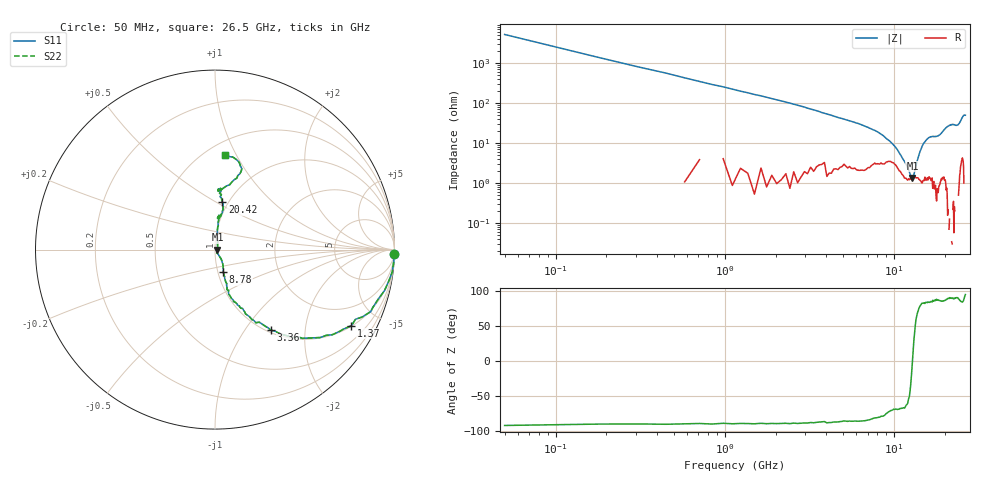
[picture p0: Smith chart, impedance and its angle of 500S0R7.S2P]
!  American Technical Ceramics  Date:  3/6/98
!  One Norden Lane
!  Huntington Station,  NY.  11746-2102
!  Tel:  (516) 547-5700  Fax:  (516) 547-5748
!  Part Number  500S0R7
!  Description: Broadband Microwave capacitor
!  Application:
# GHZ S DB R 50
! Freq  |S11|  S11 Ph  |S21|  S21 Ph  |S12|  S12 Ph  |S22|  S22 Ph
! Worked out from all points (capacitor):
!   201 points, 50 MHz to 26.5 GHz, reference 50 ohm
!   read as one part in series: C = 653 fF near 180 MHz
!   lowest |Z| = 1.33 ohm at 12.88 GHz (marker M1)
!   series resonance near 12.89 GHz, so ESL is about 230 pH
!   S11 on the Smith chart (normalised r, x): 50 MHz: -0, -88; 1.37 GHz: 1.02, -3.57; 3.36 GHz: 1.04, -1.33; 8.78 GHz: 1.06, -0.27; 20.42 GHz: 0.94, +0.53; 26.5 GHz: 0.62, +0.90
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0.05  0.00 -1.3  -34.12 90.9  -34.12 90.9  0.00 -1.3
0.18  -0.02 -4.2  -22.65 86.0  -22.65 86.0  -0.02 -4.2
0.31  -0.04 -7.2  -17.91 82.8  -17.91 82.8  -0.04 -7.2
0.71  -0.43 -16.6  -11.07 72.8  -11.07 72.8  -0.43 -16.6
1.37  -1.21 -29.2  -6.19 60.2  -6.19 60.2  -1.21 -29.2
3.36  -5.26 -55.4  -1.69 32.9  -1.69 32.9  -5.26 -55.4
4.55  -7.76 -63.5  -0.91 22.9  -0.91 22.9  -7.76 -63.5
8.78  -17.58 -69.6  -0.33 8.0  -0.33 8.0  -17.58 -69.6
8.91  -18.20 -68.0  -0.32 7.6  -0.32 7.6  -18.20 -68.0
11.56  -32.80 -61.3  -0.14 2.4  -0.14 2.4  -32.80 -61.3
12.88  -37.30 -0.9  -0.11 0.0  -0.11 0.0  -37.30 -0.9
13.28  -33.78 44.6  -0.12 -0.6  -0.12 -0.6  -33.78 44.6
14.07  -24.42 77.7  -0.13 -2.0  -0.13 -2.0  -24.42 77.7
14.99  -18.35 82.8  -0.20 -3.7  -0.20 -3.7  -18.35 82.8
16.18  -14.89 82.2  -0.30 -4.6  -0.30 -4.6  -14.89 82.2
17.77  -14.94 85.0  -0.25 -5.7  -0.25 -5.7  -14.94 85.0
18.83  -14.95 82.0  -0.32 -7.9  -0.32 -7.9  -14.95 82.0
20.42  -11.49 81.0  -0.54 -11.1  -0.54 -11.1  -11.49 81.0
22.14  -9.39 83.8  -0.89 -11.8  -0.89 -11.8  -9.39 83.8
24.25  -9.51 83.8  -1.05 -12.5  -1.05 -12.5  -9.51 83.8
25.71  -6.46 71.7  -1.72 -17.4  -1.72 -17.4  -6.46 71.7
26.5  -5.52 83.9  -2.12 -18.6  -2.12 -18.6  -5.52 83.9
